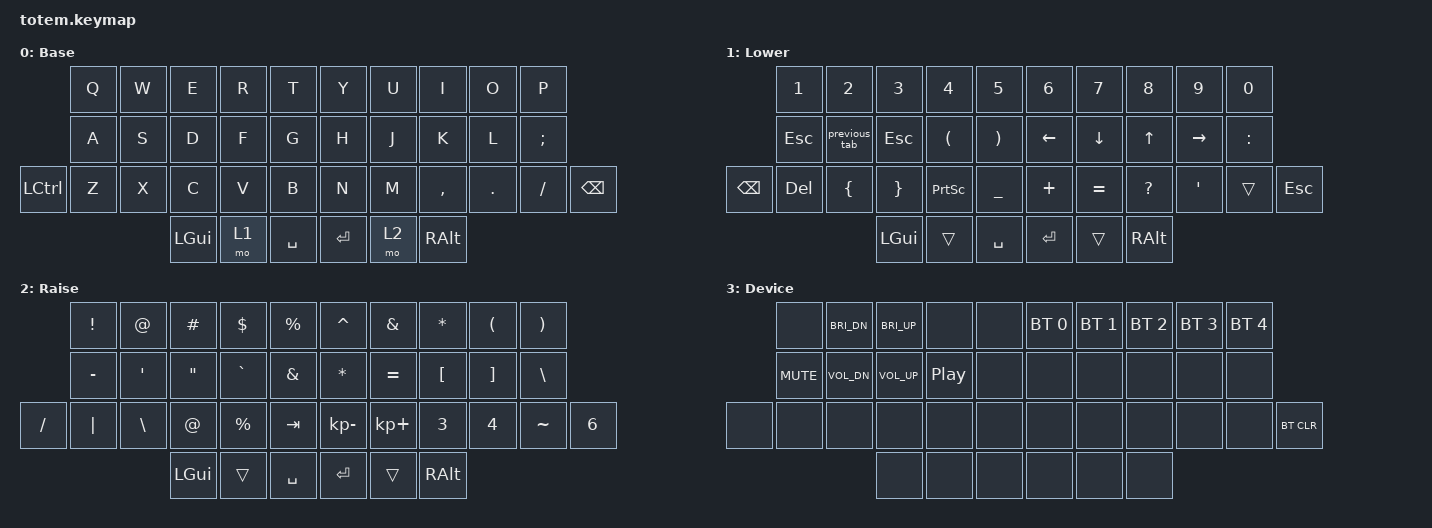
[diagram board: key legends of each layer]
//
//                                                        ▀▀▀▀▀     ▀▀▀▀▀          ▀▀█▀▀
//                                                        ▄▀▀▀▄  ▄  ▄▀▀▀▄  ▄  ▄▀▀▀▄  █  ▄▀▀▀▄
//                                                        █   █  █  █   █  █  █   █  █  █   █
//                                                         ▀▀▀   █   ▀▀▀   █   ▀▀▀   ▀   ▀▀▀
//                                                               █      ▄▄▄█▄▄▄    █   █  
//                                                               ▀      █  █  █     █▄█
//                                                             ▀▀▀▀▀    █  █  █      ▀
//                                                                      ▀  ▀  ▀
//
// ▄▄▄▄▄▄▄▄▄▄▄▄▄▄▄▄▄▄▄▄▄▄▄▄▄▄▄▄▄▄▄▄▄▄▄▄▄▄▄▄▄▄▄▄▄▄▄▄▄▄▄▄▄▄▄▄▄▄▄▄▄▄▄▄▄▄▄▄▄▄▄▄▄▄▄▄▄▄▄▄▄▄▄▄▄▄▄▄▄▄▄▄▄▄▄▄▄▄▄▄▄▄▄▄▄▄▄▄▄▄▄▄▄▄▄▄▄▄▄▄▄▄▄▄▄▄▄▄▄▄▄▄▄▄▄▄▄▄▄▄▄▄▄▄▄▄▄▄▄
//
// TOTEM 38-key adaptation of the original Corne keymap
//
// Physical Totem order:
//
//             Q  W  E  R  T       Y  U  I  O  P
//             A  S  D  F  G       H  J  K  L  ;
//          X   Z  X  C  V  B       N  M  ,  .  /   Y
//                     GUI LWR SPC     ENT RSE ALT
//
// Migration choices:
// - Keep QWERTY positions unchanged.
// - Space stays on left thumb.
// - Enter stays on right thumb.
// - Lower/Raise stay in the same thumb positions.
// - Use the two outer bottom keys for CTRL and BACKSPACE.
// - TAB, SHIFT, ESC and apostrophe are provided through combos/layers.
//
// IMPORTANT: Totem's matrix transform has 38 logical positions in this order:
// 10 top + 10 home + 12 bottom + 6 thumbs.
//

#include <behaviors.dtsi>
#include <dt-bindings/zmk/bt.h>
#include <dt-bindings/zmk/keys.h>

/ {
    /*
     * TOTEM 38-key
     *
     * Binding order:
     *   10 top + 10 home + 12 bottom + 6 thumbs = 38
     *
     * Base:
     *   Q W E R T       Y U I O P
     *   A S D F G       H J K L ;
     *   CTRL Z X C V B  N M , . / BSPC
     *          GUI LOWER SPACE | ENTER RAISE ALT
     */

    macros {
        /*
         * macOS/browser previous tab:
         * Cmd + Shift + [
         */

        previous_tab: previous_tab {
            compatible = "zmk,behavior-macro";
            #binding-cells = <0>;
            wait-ms = <40>;
            tap-ms = <40>;
            bindings = <&kp LG(LS(LBKT))>;
        };

        /*
         * macOS/browser next tab:
         * Cmd + Shift + ]
         */

        next_tab: next_tab {
            compatible = "zmk,behavior-macro";
            #binding-cells = <0>;
            wait-ms = <40>;
            tap-ms = <40>;
            bindings = <&kp LG(LS(RBKT))>;
        };
    };

    combos {
        compatible = "zmk,combos";

        /* W + E = TAB */

        combo_tab {
            timeout-ms = <50>;
            key-positions = <1 2>;
            bindings = <&kp TAB>;
        };

        /* X + C = LEFT SHIFT */

        combo_shift {
            timeout-ms = <50>;
            key-positions = <22 23>;
            bindings = <&kp LSHFT>;
        };

        /* ; + / = apostrophe */

        combo_apos {
            timeout-ms = <50>;
            key-positions = <19 30>;
            bindings = <&kp APOS>;
        };

        rightshift {
            bindings = <&kp RIGHT_SHIFT>;
            key-positions = <29 28>;
        };

        jk_escape {
            bindings = <&kp ESCAPE>;
            key-positions = <16 17>;
        };

        right_control {
            bindings = <&kp RIGHT_CONTROL>;
            key-positions = <26 27>;
        };

        right_tab {
            bindings = <&kp TAB>;
            key-positions = <5 6>;
        };
    };

    keymap {
        compatible = "zmk,keymap";

        base {
            display-name = "Base";
            bindings = <
           &kp Q  &kp W  &kp E     &kp R  &kp T        &kp Y    &kp U  &kp I      &kp O    &kp P
           &kp A  &kp S  &kp D     &kp F  &kp G        &kp H    &kp J  &kp K      &kp L    &kp SEMI
&kp LCTRL  &kp Z  &kp X  &kp C     &kp V  &kp B        &kp N    &kp M  &kp COMMA  &kp DOT  &kp FSLH  &kp BSPC
                         &kp LGUI  &mo 1  &kp SPACE    &kp RET  &mo 2  &kp RALT
            >;
        };

        lower_layer {
            display-name = "Lower";
            bindings = <
          &kp N1   &kp N2         &kp N3    &kp N4     &kp N5       &kp N6    &kp N7     &kp N8     &kp N9     &kp N0
          &kp ESC  &previous_tab  &kp ESC   &kp LPAR   &kp RPAR     &kp LEFT  &kp DOWN   &kp UP     &kp RIGHT  &kp COLON
&kp BSPC  &kp DEL  &kp LBRC       &kp RBRC  &kp PSCRN  &kp UNDER    &kp PLUS  &kp EQUAL  &kp QMARK  &kp SQT    &trans     &kp ESCAPE
                                  &kp LGUI  &trans     &kp SPACE    &kp RET   &trans     &kp RALT
            >;
        };

        raise_layer {
            display-name = "Raise";
            bindings = <
          &kp EXCL   &kp AT    &kp HASH  &kp DLLR   &kp PRCNT    &kp CARET     &kp AMPS     &kp ASTRK  &kp LPAR  &kp RPAR
          &kp MINUS  &kp SQT   &kp DQT   &kp GRAVE  &kp AMPS     &kp ASTRK     &kp EQUAL    &kp LBKT   &kp RBKT  &kp BSLH
&kp FSLH  &kp PIPE   &kp BSLH  &kp AT    &kp PRCNT  &kp TAB      &kp KP_MINUS  &kp KP_PLUS  &kp N3     &kp N4    &kp TILDE  &kp N6
                               &kp LGUI  &trans     &kp SPACE    &kp RET       &trans       &kp RALT
            >;
        };

        device {
            display-name = "Device";
            bindings = <
       &none       &kp C_BRI_DN  &kp C_BRI_UP  &none             &none    &bt BT_SEL 0  &bt BT_SEL 1  &bt BT_SEL 2  &bt BT_SEL 3  &bt BT_SEL 4
       &kp K_MUTE  &kp C_VOL_DN  &kp C_VOL_UP  &kp C_PLAY_PAUSE  &none    &none         &none         &none         &none         &none
&none  &none       &none         &none         &none             &none    &none         &none         &none         &none         &none         &bt BT_CLR
                                 &none         &none             &none    &none         &none         &none
            >;
        };
    };

    conditional_layers {
        compatible = "zmk,conditional-layers";

        device {
            if-layers = <1 2>;
            then-layer = <3>;
        };
    };
};
